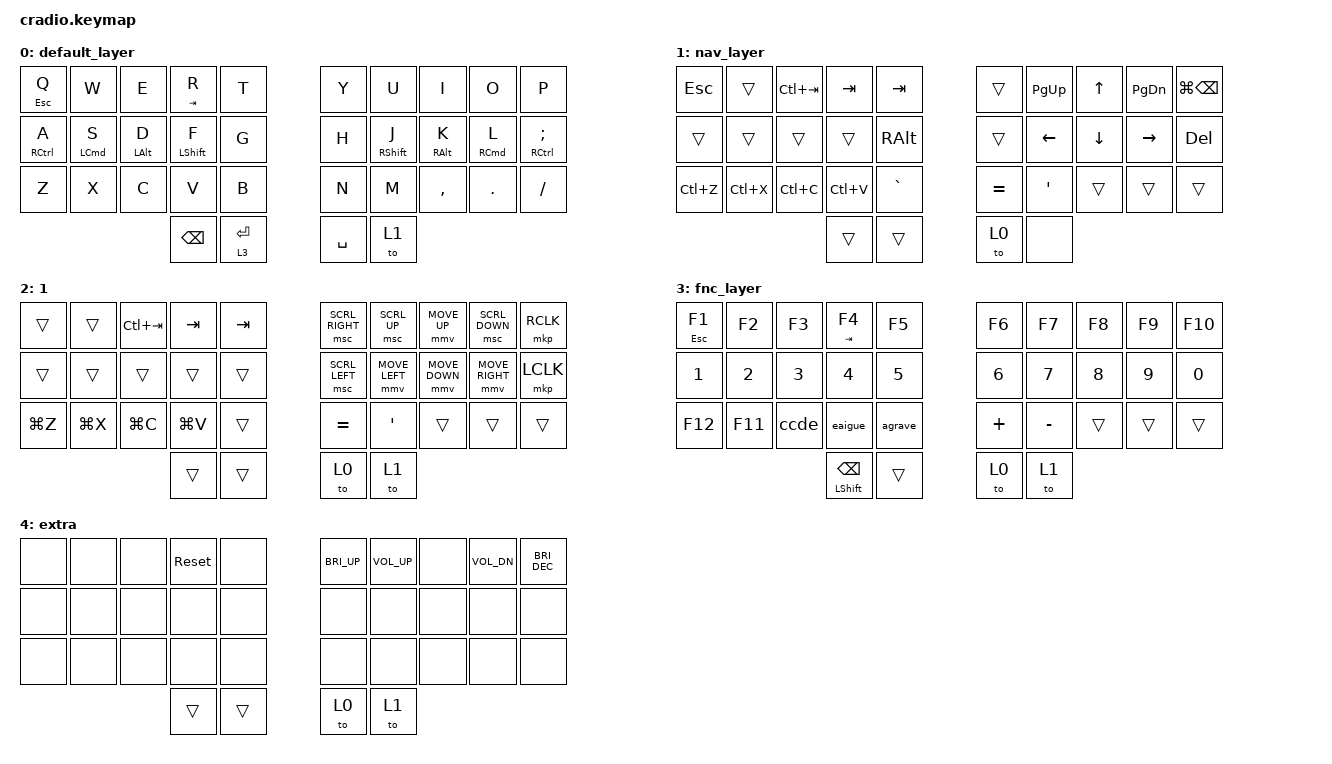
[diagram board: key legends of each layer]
/*
 * Copyright (c) 2020 The ZMK Contributors
 *
 * SPDX-License-Identifier: MIT
 */

#include <behaviors.dtsi>
#include <dt-bindings/zmk/keys.h>
#include <dt-bindings/zmk/pointing.h>

// Layer definitions

#define BASE 0
#define SYM 1
#define EXT 2
#define FNC 3
#define SYM2 4
#define ACCENT 5
#define SETTINGS 6
#define ZMK_POINTING_DEFAULT_MOVE_VAL 1500  // default: 600
#define ZMK_POINTING_DEFAULT_SCRL_VAL 20    // default: 10

// -----------------

&mt { flavor = "tap-preferred"; };

/ {
    macros {
        // sometimes my device thinks a modifier is being held down
        // pressing all modifiers fixes it.

        unstick: unstick {
            label = "ZM_unstick";
            compatible = "zmk,behavior-macro";
            #binding-cells = <0>;
            bindings = <&kp LSHIFT &kp RSHIFT &kp LCTRL &kp RCTRL &kp LALT &kp RALT &kp LGUI &kp RGUI>;
        };

        eaigue: eaigue {
            compatible = "zmk,behavior-macro";
            #binding-cells = <0>;
            bindings = <&kp SQT &kp E>;
            label = "eaigue";
        };

        ccde: ccde {
            compatible = "zmk,behavior-macro";
            #binding-cells = <0>;
            bindings = <&kp SQT &kp C>;
            label = "ccde";
        };

        agrave: agrave {
            compatible = "zmk,behavior-macro";
            #binding-cells = <0>;
            bindings = <&kp GRAVE &kp A>;
            label = "AGRAVE";
        };

        egrave: egrave {
            compatible = "zmk,behavior-macro";
            #binding-cells = <0>;
            bindings = <&kp GRAVE &kp E>;
            label = "EGRAVE";
        };
    };

    combos {
        compatible = "zmk,combos";

        // both right thumb keys

        combo_accent {
            timeout-ms = <300>;
            key-positions = <33 30>;
            bindings = <&to 3>;
        };

        // internal-left & external-right thumb keys

        combo_sym2 {
            timeout-ms = <300>;
            key-positions = <31 33>;
            bindings = <&to 4>;
        };

        Mouse {
            bindings = <&to 2>;
            key-positions = <18 19>;
        };

        // both left thumb keys
    };

    keymap {
        compatible = "zmk,keymap";

        // Base alpha layer

        default_layer {
            bindings = <
&mt ESC Q    &kp W       &kp E           &mt TAB R      &kp T          &kp Y      &kp U        &kp I            &kp O       &kp P
&mt RCTRL A  &mt LCMD S  &mt LEFT_ALT D  &mt LSHFT F    &kp G          &kp H      &mt RSHFT J  &mt RIGHT_ALT K  &mt RCMD L  &mt RCTRL SEMICOLON
&kp Z        &kp X       &kp C           &kp V          &kp B          &kp N      &kp M        &kp COMMA        &kp DOT     &kp SLASH
                                         &kp BACKSPACE  &lt 3 ENTER    &kp SPACE  &to 1
            >;
        };

        nav_layer {
            bindings = <
&kp ESC    &trans     &kp LC(TAB)  &kp TAB    &kp TAB      &trans     &kp PG_UP  &kp UP    &kp PAGE_DOWN  &kp LG(BACKSPACE)
&trans     &trans     &trans       &trans     &kp RALT     &trans     &kp LEFT   &kp DOWN  &kp RIGHT      &kp DEL
&kp LC(Z)  &kp LC(X)  &kp LC(C)    &kp LC(V)  &kp GRAVE    &kp EQUAL  &kp SQT    &trans    &trans         &trans
                                   &trans     &trans       &to 0      &none
            >;
        };

        moe_layer {
            bindings = <
&trans     &trans     &kp LC(TAB)  &kp TAB    &kp TAB    &msc SCRL_RIGHT  &msc SCRL_UP    &mmv MOVE_UP    &msc SCRL_DOWN   &mkp RCLK
&trans     &trans     &trans       &trans     &trans     &msc SCRL_LEFT   &mmv MOVE_LEFT  &mmv MOVE_DOWN  &mmv MOVE_RIGHT  &mkp LCLK
&kp LG(Z)  &kp LG(X)  &kp LG(C)    &kp LG(V)  &trans     &kp EQUAL        &kp SQT         &trans          &trans           &trans
                                   &trans     &trans     &to 0            &to 1
            >;

            label = "1";
        };

        fnc_layer {
            bindings = <
&mt ESC F1    &kp F2        &kp F3        &mt TAB F4                &kp F5     &kp F6        &kp F7     &kp F8  &kp F9  &kp F10
&kp NUMBER_1  &kp NUMBER_2  &kp NUMBER_3  &kp NUMBER_4              &kp N5     &kp NUMBER_6  &kp N7     &kp N8  &kp N9  &kp N0
&kp F12       &kp F11       &ccde         &eaigue                   &agrave    &kp PLUS      &kp MINUS  &trans  &trans  &trans
                                          &mt LEFT_SHIFT BACKSPACE  &trans     &to 0         &to 1
            >;
        };

        extra {
            bindings = <
&none  &none  &none  &sys_reset  &none     &kp C_BRI_UP  &kp C_VOLUME_UP  &none  &kp C_VOL_DN  &kp C_BRIGHTNESS_DEC
&none  &none  &none  &none       &none     &none         &none            &none  &none         &none
&none  &none  &none  &none       &none     &none         &none            &none  &none         &none
                     &trans      &trans    &to 0         &to 1
            >;
        };
    };
};
